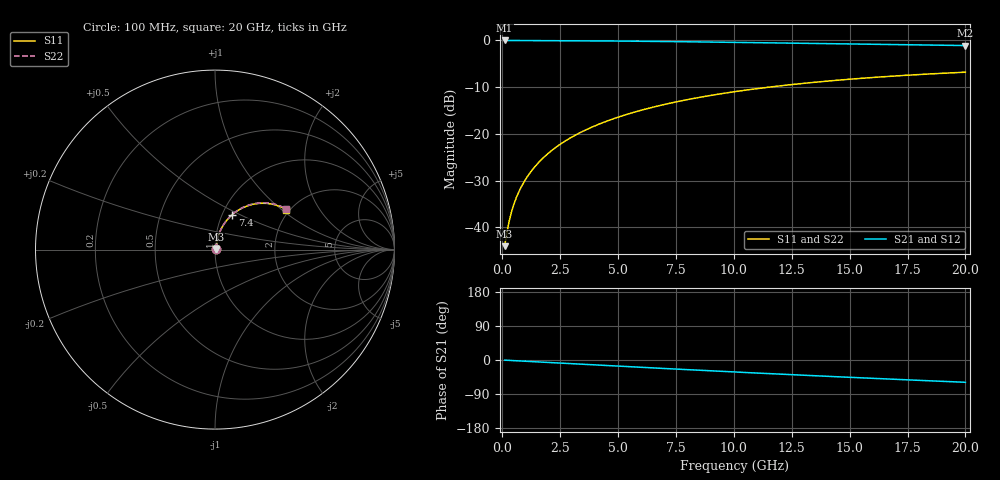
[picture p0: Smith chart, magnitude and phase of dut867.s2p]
! Touchstone file exported from HFSS 2026.1.0
!  File:  C:/ffzhzh/LocalFiles/Ansys_Project_Files/temp_train_BSMRDL_867_1783170821_43440.aedt
!  Generated:  09:15:16 PM Jul  4, 2026
!  Design:  BSMRDL
!  Project:  temp_train_BSMRDL_867_1783170821_43440
! Variables:
!  h_bsmrdl = 2.37um
!  h_ox = 20um
!  h_rdl = 5um
!  h_sub = 80um
!  h_tmrdl = 5um
!  h_tsv = 80um
!  h_via = 3um
!  l_bsmrdl = 921.18um
!  l_sub = 1321.18um
!  l_tmrdl = 200um
!  m_sub = 200um
!  pitch = 53.61um
!  r_tsv = 6um
!  s_tmrdl = 10um
!  w_bsmrdl = 27.97um
!  w_sub = 500um
!  w_tmrdl = 12um
!  x_tsv_center1 = 206um
!  x_tsv_center2 = 1155.15um
!  x_tsv_center3 = 1367.15um
!  x_tsv_center4 = 2316.3um
!  x_tsv_center5 = 2528.3um
!  x_tsv_center6 = 3477.45um
# GHz S MA R 50.000000
! Terminal data exported
! Port[1] = BSM_RDL1_1_T1
! Port[2] = BSM_RDL1_1_T2
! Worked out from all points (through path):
!   200 points, 100 MHz to 20 GHz, reference 50 ohm
!   highest |S21| = -0.05 dB at 100 MHz (marker M1); lowest = -1.1 dB at 20 GHz (marker M2)
!   group delay of S21, straight-line fit = 8.18 ps
!   lowest |S11| = -44.0 dB at 100 MHz (marker M3), VSWR 1.01, Z = 50.5 + j0.352 ohm
!   |S11| at or under -10 dB: start of sweep to 11.57 GHz
!   |S22| runs from -44.0 to -6.8 dB; largest |S21 - S12| = 6.2e-14
!   S11 on the Smith chart (normalised r, x): 100 MHz: 1.01, +0.01; 7.4 GHz: 1.11, +0.45; 20 GHz: 1.92, +1.08
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0.1  0.006284 33.6  0.9948 -0.4  0.9948 -0.4  0.006283 33.6
! Gamma 0 0 0 0
! Port Impedance 50 0 50 0
0.2  0.008808 51.2  0.9945 -0.7  0.9945 -0.7  0.008808 51.2
0.3  0.01171 59.7  0.9942 -1.0  0.9942 -1.0  0.01171 59.7
0.4  0.01468 64.5  0.9939 -1.4  0.9939 -1.4  0.01468 64.5
0.5  0.01764 67.5  0.9936 -1.7  0.9936 -1.7  0.01763 67.6
0.6  0.02058 69.7  0.9934 -2.0  0.9934 -2.0  0.02058 69.7
0.8  0.02646 72.6  0.9929 -2.7  0.9929 -2.7  0.02646 72.6
1.1  0.03532 74.9  0.9924 -3.6  0.9924 -3.6  0.03532 75.0
1.3  0.04127 75.8  0.9921 -4.3  0.9921 -4.3  0.04127 75.8
1.6  0.05023 76.4  0.9915 -5.2  0.9915 -5.2  0.05022 76.5
2.1  0.06521 76.6  0.9905 -6.9  0.9905 -6.9  0.0652 76.7
2.7  0.08316 75.9  0.989 -8.8  0.989 -8.8  0.08315 76.0
3.5  0.1069 74.4  0.9865 -11.4  0.9865 -11.4  0.1069 74.5
4.2  0.1274 72.7  0.9839 -13.6  0.9839 -13.6  0.1274 72.9
5  0.1505 70.6  0.9803 -16.2  0.9803 -16.2  0.1504 70.8
6.8  0.2004 65.5  0.9708 -21.8  0.9708 -21.8  0.2003 65.8
7.4  0.2163 63.8  0.9671 -23.7  0.9671 -23.7  0.2163 64.1
8.7  0.2496 60.0  0.9586 -27.6  0.9586 -27.6  0.2496 60.3
10.1  0.2834 55.9  0.9487 -31.8  0.9487 -31.8  0.2833 56.3
13.4  0.3537 46.6  0.924 -41.3  0.924 -41.3  0.3536 47.2
16.7  0.4109 37.8  0.8995 -50.3  0.8995 -50.3  0.4107 38.4
20  0.4555 29.3  0.8777 -58.8  0.8777 -58.8  0.4553 30.1
